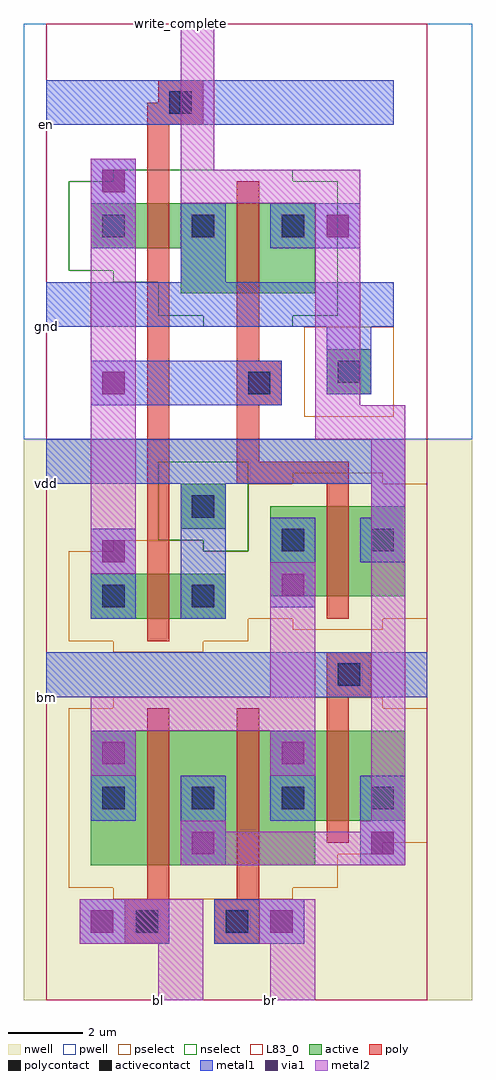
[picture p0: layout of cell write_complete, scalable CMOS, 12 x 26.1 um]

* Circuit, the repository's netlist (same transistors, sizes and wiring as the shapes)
.SUBCKT write_complete bl br en bm write_complete vdd gnd
M1 net1 bl write_complete vdd p w=3.6u l=0.6u
M2 net1 br write_complete vdd p w=3.6u l=0.6u
M3 write_complete en_b gnd gnd n w=2.4u l=0.6u
M4 net1 en_b vdd vdd p w=2.4u l=0.6u
M5 en_b en gnd gnd n w=1.2u l=0.6u
M6 en_b en vdd vdd p w=1.2u l=0.6u
M7 net1 bm write_complete vdd p w=2.4u l=0.6u
.ENDS write_complete

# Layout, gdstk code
import gdstk
lib = gdstk.Library(unit=1e-6, precision=1e-09)
def R(c, l, rs):  # rectangles x0, y0, x1, y1
    for r in rs: c.add(gdstk.rectangle(r[:2], r[2:], *l))
def A(c, l, x, y, w, h, nx, ny, dx, dy):  # array of equal rectangles
    R(c, l, [(x+i*dx, y+j*dy, x+i*dx+w, y+j*dy+h) for i in range(nx) for j in range(ny)])
pwell = (41, 0)
nwell = (42, 0)
active = (43, 0)
pselect = (44, 0)
nselect = (45, 0)
poly = (46, 0)
polycontact = (47, 0)
activecontact = (48, 0)
metal1 = (49, 0)
via1 = (50, 0)
metal2 = (51, 0)
L83_0 = (83, 0)

write_complete = lib.new_cell('write_complete')
R(write_complete, pwell, [(-0.6,15,11.4,26.1)])
R(write_complete, nwell, [(-0.6,0,11.4,15)])
R(write_complete, active, [(1.2,3.6,7.2,4.8), (1.2,4.8,9.6,7.2), (1.2,10.2,4.8,11.4), (6,10.8,9.6,13.2), (3.6,12.6,4.8,13.8), (7.5,16.2,8.7,17.4), (3.6,18.9,7.2,20.1), (1.2,20.1,7.2,21.3)])
R(write_complete, pselect, [(1.8,2.7,6.6,3), (0.6,3,7.8,3.9), (0.6,3.9,9,4.2), (0.6,4.2,10.2,7.8), (1.8,7.8,9,8.1), (1.8,9.3,4.2,9.6), (0.6,9.6,5.4,10.2), (6.6,9.9,9,10.2), (0.6,10.2,10.2,12), (1.8,12,4.2,12.3), (5.4,12,10.2,13.8), (6.6,13.8,9,14.1), (6.9,15.6,9.3,18)])
R(write_complete, nselect, [(4.2,12,5.4,12.3), (3,12.3,5.4,14.4), (4.2,18,6.6,18.3), (3,18.3,7.8,19.2), (1.8,19.2,7.8,19.5), (0.6,19.5,7.8,21.9), (1.8,21.9,6.6,22.2)])
R(write_complete, poly, [(2.1,1.5,3.3,2.7), (4.5,1.5,5.7,2.7), (2.7,2.7,3.3,7.8), (5.1,2.7,5.7,7.8), (7.5,4.2,8.1,8.1), (7.5,8.1,8.7,9.3), (2.7,9.6,3.3,23.4), (7.5,10.2,8.1,13.8), (5.1,13.8,8.1,14.4), (5.1,14.4,5.7,15.9), (5.1,15.9,6.3,17.1), (5.1,17.1,5.7,21.9), (2.7,23.4,4.2,24), (3,24,4.2,24.6)])
R(write_complete, polycontact, [(2.4,1.8,3,2.4), (4.8,1.8,5.4,2.4), (7.8,8.4,8.4,9), (5.4,16.2,6,16.8), (3.3,23.7,3.9,24.3)])
A(write_complete, activecontact, 1.5, 5.1, 0.6, 0.6, 4, 1, 2.4, 0)
A(write_complete, activecontact, 1.5, 20.4, 0.6, 0.6, 3, 1, 2.4, 0)
R(write_complete, activecontact, [(1.5,10.5,2.1,11.1), (3.9,10.5,4.5,11.1), (6.3,12,6.9,12.6), (8.7,12,9.3,12.6), (3.9,12.9,4.5,13.5), (7.8,16.5,8.4,17.1)])
R(write_complete, metal1, [(0.9,1.5,3.3,2.7), (4.5,1.5,6.9,2.7), (3.6,3.6,4.8,6), (8.4,3.6,9.6,6), (1.2,4.8,2.4,7.2), (6,4.8,7.2,7.2), (0,8.1,10.2,9.3), (1.2,10.2,2.4,12.6), (3.6,10.2,4.8,13.8), (6,10.5,7.2,12.9), (8.4,11.7,9.6,12.9), (8.7,12.9,9.6,13.8), (0,13.8,9.6,15), (1.2,15.9,6.3,17.1), (7.5,16.2,8.7,18), (0,18,9.3,19.2), (3.6,19.2,4.8,21.3), (1.2,20.1,2.4,22.5), (6,20.1,8.4,21.3), (0,23.4,9.3,24.6)])
R(write_complete, via1, [(1.2,1.8,1.8,2.4), (6,1.8,6.6,2.4), (3.9,3.9,4.5,4.5), (8.7,3.9,9.3,4.5), (1.5,6.3,2.1,6.9), (6.3,6.3,6.9,6.9), (6.3,10.8,6.9,11.4), (1.5,11.7,2.1,12.3), (1.5,16.2,2.1,16.8), (7.5,20.4,8.1,21), (1.5,21.6,2.1,22.2)])
R(write_complete, metal2, [(3,0,4.2,1.5), (6,0,7.2,1.5), (0.9,1.5,4.2,2.7), (5.7,1.5,7.2,2.7), (3.6,3.6,9.6,4.5), (3.6,4.5,4.8,4.8), (8.4,4.5,9.6,4.8), (8.7,4.8,9.6,15), (1.2,6,2.4,7.2), (6,6,7.2,7.2), (1.2,7.2,7.2,8.1), (6,8.1,7.2,11.7), (1.2,11.4,2.4,22.5), (7.2,15,9.6,15.9), (7.2,15.9,8.4,21.3), (3.6,21.3,8.4,22.2), (3.6,22.2,4.5,26.1)])
R(write_complete, L83_0, [(0,0,10.2,26.1)])
write_complete.add(gdstk.Label('bl', (3,0), layer=51, texttype=0))
write_complete.add(gdstk.Label('br', (6,0), layer=51, texttype=0))
write_complete.add(gdstk.Label('vdd', (0,13.8), layer=49, texttype=0))
write_complete.add(gdstk.Label('gnd', (0,18), layer=49, texttype=0))
write_complete.add(gdstk.Label('bm', (0,8.1), layer=49, texttype=0))
write_complete.add(gdstk.Label('write_complete', (3.6,26.1), layer=51, texttype=0))
write_complete.add(gdstk.Label('en', (0,23.4), layer=49, texttype=0))

lib.write_gds('write_complete.gds')
